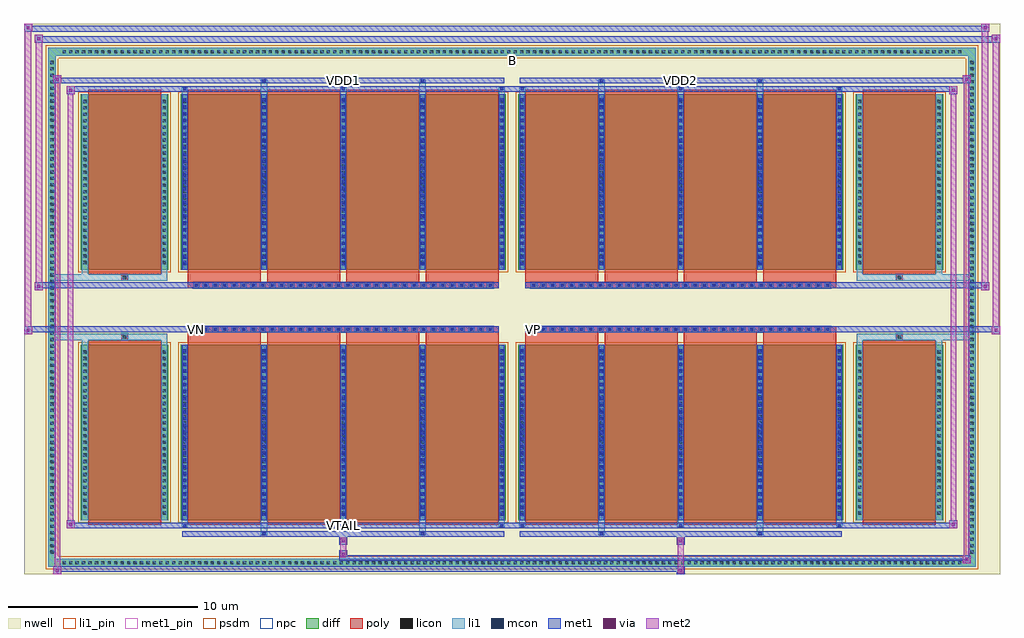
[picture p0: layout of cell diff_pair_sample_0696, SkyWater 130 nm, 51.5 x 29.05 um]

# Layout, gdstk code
import gdstk
lib = gdstk.Library(unit=1e-6, precision=5e-09)
def R(c, l, rs):  # rectangles x0, y0, x1, y1
    for r in rs: c.add(gdstk.rectangle(r[:2], r[2:], *l))
def A(c, l, x, y, w, h, nx, ny, dx, dy):  # array of equal rectangles
    R(c, l, [(x+i*dx, y+j*dy, x+i*dx+w, y+j*dy+h) for i in range(nx) for j in range(ny)])
def P(c, l, *ps):  # polygons
    for p in ps: c.add(gdstk.Polygon(p, *l))
nwell = (64, 20)
diff = (65, 20)
poly = (66, 20)
licon = (66, 44)
li1_pin = (67, 16)
li1 = (67, 20)
mcon = (67, 44)
met1_pin = (68, 16)
met1 = (68, 20)
via = (68, 44)
met2 = (69, 20)
psdm = (94, 20)
npc = (95, 20)

diff_pair_sample_0696 = lib.new_cell('diff_pair_sample_0696')
R(diff_pair_sample_0696, nwell, [(-25.75,-14.09,25.75,14.96), (-23.07,-12.28,-0.01,-0.8), (0.01,-12.28,23.07,-0.8), (-23.07,0.8,-0.01,12.28), (0.01,0.8,23.07,12.28)])
A(diff_pair_sample_0696, diff, -23.835, -13.69, 0.41, 0.41, 140, 2, 0.34, 26.97)
A(diff_pair_sample_0696, diff, -24.48, -13.125, 0.41, 0.41, 1, 77, 0, 0.34)
A(diff_pair_sample_0696, diff, 24.07, -13.125, 0.41, 0.41, 1, 77, 0, 0.34)
R(diff_pair_sample_0696, diff, [(-23.835,-13.69,23.835,-13.28), (-24.48,-13.125,-24.07,13.125), (24.07,-13.125,24.48,13.125), (-22.76,-11.235,-18.13,-1.985), (-17.49,-11.235,-0.32,-1.985), (0.32,-11.235,17.49,-1.985), (18.13,-11.235,22.76,-1.985), (-22.76,1.985,-18.13,11.235), (-17.49,1.985,-0.32,11.235), (0.32,1.985,17.49,11.235), (18.13,1.985,22.76,11.235), (-23.835,13.28,23.835,13.69)])
P(diff_pair_sample_0696, diff, [(24.48,13.69),(-24.48,13.69),(-24.48,-13.28),(-24.07,-13.28),(-24.07,13.28),(24.07,13.28),(24.07,-13.28),(-24.07,-13.28),(-24.48,-13.28),(-24.48,-13.69),(24.48,-13.69)])
A(diff_pair_sample_0696, poly, -17.1, -11.485, 3.85, 9.75, 4, 2, 4.18, 13.22)
A(diff_pair_sample_0696, poly, 0.71, -11.485, 3.85, 9.75, 4, 2, 4.18, 13.22)
A(diff_pair_sample_0696, poly, -17.1, -1.735, 3.85, 0.405, 4, 2, 4.18, 3.065)
A(diff_pair_sample_0696, poly, 0.71, -1.735, 3.85, 0.405, 4, 2, 4.18, 3.065)
A(diff_pair_sample_0696, poly, -16.82, -1.33, 0.33, 0.33, 32, 2, 0.5, 2.33)
A(diff_pair_sample_0696, poly, 0.99, -1.33, 0.33, 0.33, 32, 2, 0.5, 2.33)
R(diff_pair_sample_0696, poly, [(-22.37,-11.485,-18.52,-1.735), (18.52,-11.485,22.37,-1.735), (-20.61,-1.735,-20.28,-1.405), (-20.61,-1.735,-20.28,-1.405), (20.28,-1.735,20.61,-1.405), (20.28,-1.735,20.61,-1.405), (-17.1,-1.33,-0.71,-1), (0.71,-1.33,17.1,-1), (-17.1,1,-0.71,1.33), (0.71,1,17.1,1.33), (-20.61,1.405,-20.28,1.735), (-20.61,1.405,-20.28,1.735), (20.28,1.405,20.61,1.735), (20.28,1.405,20.61,1.735), (-22.37,1.735,-18.52,11.485), (18.52,1.735,22.37,11.485)])
A(diff_pair_sample_0696, licon, -23.715, -13.57, 0.17, 0.17, 140, 2, 0.34, 26.97)
A(diff_pair_sample_0696, licon, -24.36, -13.005, 0.17, 0.17, 1, 77, 0, 0.34)
A(diff_pair_sample_0696, licon, 24.19, -13.005, 0.17, 0.17, 1, 77, 0, 0.34)
A(diff_pair_sample_0696, licon, -22.62, -10.945, 0.17, 0.17, 1, 26, 0, 0.34)
A(diff_pair_sample_0696, licon, -18.44, -10.945, 0.17, 0.17, 1, 26, 0, 0.34)
A(diff_pair_sample_0696, licon, -17.35, -10.945, 0.17, 0.17, 5, 26, 4.18, 0.34)
A(diff_pair_sample_0696, licon, 0.46, -10.945, 0.17, 0.17, 5, 26, 4.18, 0.34)
A(diff_pair_sample_0696, licon, 18.27, -10.945, 0.17, 0.17, 1, 26, 0, 0.34)
A(diff_pair_sample_0696, licon, 22.45, -10.945, 0.17, 0.17, 1, 26, 0, 0.34)
A(diff_pair_sample_0696, licon, -16.74, -1.25, 0.17, 0.17, 32, 2, 0.5, 2.33)
A(diff_pair_sample_0696, licon, 1.07, -1.25, 0.17, 0.17, 32, 2, 0.5, 2.33)
A(diff_pair_sample_0696, licon, -22.62, 2.275, 0.17, 0.17, 1, 26, 0, 0.34)
A(diff_pair_sample_0696, licon, -18.44, 2.275, 0.17, 0.17, 1, 26, 0, 0.34)
A(diff_pair_sample_0696, licon, -17.35, 2.275, 0.17, 0.17, 5, 26, 4.18, 0.34)
A(diff_pair_sample_0696, licon, 0.46, 2.275, 0.17, 0.17, 5, 26, 4.18, 0.34)
A(diff_pair_sample_0696, licon, 18.27, 2.275, 0.17, 0.17, 1, 26, 0, 0.34)
A(diff_pair_sample_0696, licon, 22.45, 2.275, 0.17, 0.17, 1, 26, 0, 0.34)
R(diff_pair_sample_0696, licon, [(-20.53,-1.655,-20.36,-1.485), (20.36,-1.655,20.53,-1.485), (-20.53,1.485,-20.36,1.655), (20.36,1.485,20.53,1.655)])
R(diff_pair_sample_0696, li1_pin, [(-0.25,12.78,0.25,13.28)])
A(diff_pair_sample_0696, li1, -23.795, -13.65, 0.33, 0.33, 140, 2, 0.34, 26.97)
A(diff_pair_sample_0696, li1, -24.44, -13.085, 0.33, 0.33, 1, 77, 0, 0.34)
A(diff_pair_sample_0696, li1, 24.11, -13.085, 0.33, 0.33, 1, 77, 0, 0.34)
A(diff_pair_sample_0696, li1, -17.43, -11.61, 0.33, 0.375, 3, 2, 8.36, 22.845)
A(diff_pair_sample_0696, li1, -17.35, -11.61, 0.17, 0.17, 3, 2, 8.36, 23.05)
A(diff_pair_sample_0696, li1, 0.38, -11.61, 0.33, 0.375, 3, 2, 8.36, 22.845)
A(diff_pair_sample_0696, li1, 0.46, -11.61, 0.17, 0.17, 3, 2, 8.36, 23.05)
A(diff_pair_sample_0696, li1, -17.43, -11.235, 0.33, 9.25, 5, 2, 4.18, 13.22)
A(diff_pair_sample_0696, li1, 0.38, -11.235, 0.33, 9.25, 5, 2, 4.18, 13.22)
A(diff_pair_sample_0696, li1, -22.7, -11.025, 0.33, 0.33, 1, 26, 0, 0.34)
A(diff_pair_sample_0696, li1, -18.52, -11.025, 0.33, 0.33, 1, 26, 0, 0.34)
A(diff_pair_sample_0696, li1, -17.43, -11.025, 0.33, 0.33, 5, 26, 4.18, 0.34)
A(diff_pair_sample_0696, li1, 0.38, -11.025, 0.33, 0.33, 5, 26, 4.18, 0.34)
A(diff_pair_sample_0696, li1, 18.19, -11.025, 0.33, 0.33, 1, 26, 0, 0.34)
A(diff_pair_sample_0696, li1, 22.37, -11.025, 0.33, 0.33, 1, 26, 0, 0.34)
A(diff_pair_sample_0696, li1, -17.35, -11.015, 0.17, 0.17, 5, 25, 4.18, 0.36)
A(diff_pair_sample_0696, li1, -17.35, -11.015, 0.17, 8.81, 5, 2, 4.18, 13.22)
A(diff_pair_sample_0696, li1, 0.46, -11.015, 0.17, 0.17, 5, 25, 4.18, 0.36)
A(diff_pair_sample_0696, li1, 0.46, -11.015, 0.17, 8.81, 5, 2, 4.18, 13.22)
A(diff_pair_sample_0696, li1, -16.82, -1.33, 0.33, 0.33, 32, 2, 0.5, 2.33)
A(diff_pair_sample_0696, li1, 0.99, -1.33, 0.33, 0.33, 32, 2, 0.5, 2.33)
A(diff_pair_sample_0696, li1, -22.7, 2.195, 0.33, 0.33, 1, 26, 0, 0.34)
A(diff_pair_sample_0696, li1, -18.52, 2.195, 0.33, 0.33, 1, 26, 0, 0.34)
A(diff_pair_sample_0696, li1, -17.43, 2.195, 0.33, 0.33, 5, 26, 4.18, 0.34)
A(diff_pair_sample_0696, li1, 0.38, 2.195, 0.33, 0.33, 5, 26, 4.18, 0.34)
A(diff_pair_sample_0696, li1, 18.19, 2.195, 0.33, 0.33, 1, 26, 0, 0.34)
A(diff_pair_sample_0696, li1, 22.37, 2.195, 0.33, 0.33, 1, 26, 0, 0.34)
A(diff_pair_sample_0696, li1, -17.35, 2.205, 0.17, 0.17, 5, 25, 4.18, 0.36)
A(diff_pair_sample_0696, li1, 0.46, 2.205, 0.17, 0.17, 5, 25, 4.18, 0.36)
R(diff_pair_sample_0696, li1, [(-24.48,-13.69,-24.07,-13.28), (-24.48,-13.69,-24.07,-13.28), (-24.07,-13.69,24.07,-13.28), (24.07,-13.69,24.48,-13.28), (24.07,-13.69,24.48,-13.28), (-24.48,-13.28,-24.07,13.28), (24.07,-13.28,24.48,13.28), (-13.25,-12.04,-12.92,-11.235), (-13.17,-12.04,-13,-11.87), (-4.89,-12.04,-4.56,-11.235), (-4.81,-12.04,-4.64,-11.87), (4.56,-12.04,4.89,-11.235), (4.64,-12.04,4.81,-11.87), (12.92,-12.04,13.25,-11.235), (13,-12.04,13.17,-11.87), (-22.7,-11.235,-22.37,-1.985), (-18.52,-11.235,-18.19,-1.985), (18.19,-11.235,18.52,-1.985), (22.37,-11.235,22.7,-1.985), (-22.7,-1.985,-22.37,-1.405), (-18.52,-1.985,-18.19,-1.405), (18.19,-1.985,18.52,-1.405), (22.37,-1.985,22.7,-1.405), (-24.48,-1.735,-20.61,-1.405), (-22.7,-1.735,-20.61,-1.405), (-20.61,-1.735,-20.28,-1.405), (-20.28,-1.735,-18.19,-1.405), (18.19,-1.735,20.28,-1.405), (20.28,-1.735,20.61,-1.405), (20.28,-1.735,24.48,-1.405), (20.61,-1.735,22.7,-1.405), (-24.48,1.405,-20.61,1.735), (-22.7,1.405,-20.61,1.735), (-22.7,1.405,-22.37,1.985), (-20.61,1.405,-20.28,1.735), (-20.28,1.405,-18.19,1.735), (-18.52,1.405,-18.19,1.985), (18.19,1.405,20.28,1.735), (18.19,1.405,18.52,1.985), (20.28,1.405,20.61,1.735), (20.28,1.405,24.48,1.735), (20.61,1.405,22.7,1.735), (22.37,1.405,22.7,1.985), (-22.7,1.985,-22.37,11.235), (-18.52,1.985,-18.19,11.235), (18.19,1.985,18.52,11.235), (22.37,1.985,22.7,11.235), (-13.25,11.235,-12.92,12.04), (-4.89,11.235,-4.56,12.04), (4.56,11.235,4.89,12.04), (12.92,11.235,13.25,12.04), (-13.17,11.87,-13,12.04), (-4.81,11.87,-4.64,12.04), (4.64,11.87,4.81,12.04), (13,11.87,13.17,12.04), (-24.48,13.28,-24.07,13.69), (-24.48,13.28,-24.07,13.69), (-24.07,13.28,24.07,13.69), (24.07,13.28,24.48,13.69), (24.07,13.28,24.48,13.69)])
A(diff_pair_sample_0696, mcon, -17.35, -11.61, 0.17, 0.17, 3, 2, 8.36, 23.05)
A(diff_pair_sample_0696, mcon, 0.46, -11.61, 0.17, 0.17, 3, 2, 8.36, 23.05)
A(diff_pair_sample_0696, mcon, -17.35, -11.015, 0.17, 0.17, 5, 25, 4.18, 0.36)
A(diff_pair_sample_0696, mcon, 0.46, -11.015, 0.17, 0.17, 5, 25, 4.18, 0.36)
A(diff_pair_sample_0696, mcon, -16.74, -1.25, 0.17, 0.17, 32, 2, 0.5, 2.33)
A(diff_pair_sample_0696, mcon, 1.07, -1.25, 0.17, 0.17, 32, 2, 0.5, 2.33)
A(diff_pair_sample_0696, mcon, -17.35, 2.205, 0.17, 0.17, 5, 25, 4.18, 0.36)
A(diff_pair_sample_0696, mcon, 0.46, 2.205, 0.17, 0.17, 5, 25, 4.18, 0.36)
R(diff_pair_sample_0696, mcon, [(-13.17,-12.04,-13,-11.87), (-4.81,-12.04,-4.64,-11.87), (4.64,-12.04,4.81,-11.87), (13,-12.04,13.17,-11.87), (-13.17,11.87,-13,12.04), (-4.81,11.87,-4.64,12.04), (4.64,11.87,4.81,12.04), (13,11.87,13.17,12.04)])
R(diff_pair_sample_0696, met1_pin, [(-9.04,-11.65,-8.77,-11.38), (-16.79,-1.29,-16.52,-1.02), (1.02,-1.29,1.29,-1.02), (-9.04,11.83,-8.77,12.1), (8.77,11.83,9.04,12.1)])
A(diff_pair_sample_0696, met1, -17.41, -11.67, 0.29, 0.29, 3, 2, 8.36, 23.05)
A(diff_pair_sample_0696, met1, 0.4, -11.67, 0.29, 0.29, 3, 2, 8.36, 23.05)
A(diff_pair_sample_0696, met1, -17.41, -11.235, 0.29, 9.25, 5, 2, 4.18, 13.22)
A(diff_pair_sample_0696, met1, 0.4, -11.235, 0.29, 9.25, 5, 2, 4.18, 13.22)
A(diff_pair_sample_0696, met1, -17.41, -11.075, 0.29, 0.29, 5, 25, 4.18, 0.36)
A(diff_pair_sample_0696, met1, 0.4, -11.075, 0.29, 0.29, 5, 25, 4.18, 0.36)
A(diff_pair_sample_0696, met1, -16.8, -1.31, 0.29, 0.29, 32, 2, 0.5, 2.33)
A(diff_pair_sample_0696, met1, 1.01, -1.31, 0.29, 0.29, 32, 2, 0.5, 2.33)
A(diff_pair_sample_0696, met1, -17.41, 2.145, 0.29, 0.29, 5, 25, 4.18, 0.36)
A(diff_pair_sample_0696, met1, 0.4, 2.145, 0.29, 0.29, 5, 25, 4.18, 0.36)
R(diff_pair_sample_0696, met1, [(-24.21,-14.09,-23.78,-13.66), (8.69,-14.09,9.12,-13.66), (-24.21,-13.95,9.12,-13.66), (23.78,-13.52,24.21,-13.09), (-9.12,-13.38,24.21,-13.09), (-9.12,-13.24,-8.69,-12.81), (-9.12,-12.53,-8.69,-12.1), (8.69,-12.53,9.12,-12.1), (-17.41,-12.1,-0.4,-11.81), (-13.23,-12.1,-12.94,-11.81), (-4.87,-12.1,-4.58,-11.81), (0.4,-12.1,17.41,-11.81), (4.58,-12.1,4.87,-11.81), (12.94,-12.1,13.23,-11.81), (-23.5,-11.67,-23.07,-11.24), (-23.5,-11.67,-17.41,-11.38), (-17.41,-11.67,-0.4,-11.38), (-0.4,-11.67,0.4,-11.38), (0.4,-11.67,17.41,-11.38), (17.41,-11.67,23.5,-11.38), (23.07,-11.67,23.5,-11.24), (-25.75,-1.43,-25.32,-1), (25.32,-1.43,25.75,-1), (-25.75,-1.33,-0.71,-1), (-17.1,-1.33,-0.71,-1), (0.71,-1.33,17.1,-1), (0.71,-1.33,25.75,-1), (-25.18,0.9,-24.75,1.33), (24.75,0.9,25.18,1.33), (-25.18,1,-17.1,1.33), (-17.1,1,-0.71,1.33), (0.71,1,17.1,1.33), (17.1,1,25.18,1.33), (-23.5,11.24,-23.07,11.67), (23.07,11.24,23.5,11.67), (-23.5,11.38,-17.41,11.67), (-17.41,11.38,-0.4,11.67), (-0.4,11.38,0.4,11.67), (0.4,11.38,17.41,11.67), (17.41,11.38,23.5,11.67), (-24.21,11.81,-23.78,12.24), (-24.21,11.81,-17.41,12.1), (-17.41,11.81,-0.4,12.1), (-13.23,11.81,-12.94,12.1), (-4.87,11.81,-4.58,12.1), (0.4,11.81,17.41,12.1), (4.58,11.81,4.87,12.1), (12.94,11.81,13.23,12.1), (17.41,11.81,24.21,12.1), (23.78,11.81,24.21,12.24), (-25.18,13.96,-24.75,14.39), (-25.18,13.96,-23.07,14.29), (-23.07,13.96,23.07,14.29), (23.07,13.96,25.75,14.29), (25.32,13.96,25.75,14.39), (-25.75,14.53,-25.32,14.96), (-25.75,14.53,-23.07,14.86), (-23.07,14.53,23.07,14.86), (23.07,14.53,25.18,14.86), (24.75,14.53,25.18,14.96)])
R(diff_pair_sample_0696, via, [(-24.07,-13.95,-23.92,-13.8), (8.83,-13.95,8.98,-13.8), (23.92,-13.38,24.07,-13.23), (-8.98,-13.1,-8.83,-12.95), (-8.98,-12.39,-8.83,-12.24), (8.83,-12.39,8.98,-12.24), (-23.36,-11.53,-23.21,-11.38), (23.21,-11.53,23.36,-11.38), (-25.61,-1.29,-25.46,-1.14), (25.46,-1.29,25.61,-1.14), (-25.04,1.04,-24.89,1.19), (24.89,1.04,25.04,1.19), (-23.36,11.38,-23.21,11.53), (23.21,11.38,23.36,11.53), (-24.07,11.95,-23.92,12.1), (23.92,11.95,24.07,12.1), (-25.04,14.1,-24.89,14.25), (25.46,14.1,25.61,14.25), (-25.61,14.67,-25.46,14.82), (24.89,14.67,25.04,14.82)])
R(diff_pair_sample_0696, met2, [(-24.21,-14.09,-23.78,-13.66), (-24.14,-14.09,-23.85,12.24), (-23.85,-14.09,-23.78,-13.66), (-24.16,-14.04,-23.83,-13.71), (8.74,-14.04,9.07,-13.71), (8.74,-13.71,9.07,-12.48), (23.78,-13.52,24.21,-13.09), (23.85,-13.52,24.14,12.24), (24.14,-13.52,24.21,-13.09), (23.83,-13.47,24.16,-13.14), (-9.07,-13.19,-8.74,-12.86), (-9.07,-12.86,-8.74,-12.48), (-9.07,-12.48,-8.74,-12.15), (8.74,-12.48,9.07,-12.15), (-23.5,-11.67,-23.07,-11.24), (-23.43,-11.67,-23.14,11.67), (-23.14,-11.67,-23.07,-11.24), (23.07,-11.67,23.5,-11.24), (23.14,-11.67,23.43,11.67), (23.43,-11.67,23.5,-11.24), (-23.45,-11.62,-23.12,-11.29), (23.12,-11.62,23.45,-11.29), (-25.75,-1.43,-25.32,-1), (-25.7,-1.43,-25.37,14.96), (-25.37,-1.43,-25.32,-1), (25.32,-1.43,25.75,-1), (25.37,-1.43,25.7,14.39), (25.7,-1.43,25.75,-1), (-25.7,-1.38,-25.37,-1.05), (25.37,-1.38,25.7,-1.05), (-25.18,0.9,-24.75,1.33), (-25.13,0.9,-24.8,14.39), (-24.8,0.9,-24.75,1.33), (24.75,0.9,25.18,1.33), (24.8,0.9,25.13,14.96), (25.13,0.9,25.18,1.33), (-25.13,0.95,-24.8,1.28), (24.8,0.95,25.13,1.28), (-23.5,11.24,-23.07,11.67), (-23.14,11.24,-23.07,11.67), (23.07,11.24,23.5,11.67), (23.43,11.24,23.5,11.67), (-23.45,11.29,-23.12,11.62), (23.12,11.29,23.45,11.62), (-24.21,11.81,-23.78,12.24), (-23.85,11.81,-23.78,12.24), (23.78,11.81,24.21,12.24), (24.14,11.81,24.21,12.24), (-24.16,11.86,-23.83,12.19), (23.83,11.86,24.16,12.19), (-25.18,13.96,-24.75,14.39), (-24.8,13.96,-24.75,14.39), (25.32,13.96,25.75,14.39), (25.7,13.96,25.75,14.39), (-25.13,14.01,-24.8,14.34), (25.37,14.01,25.7,14.34), (-25.75,14.53,-25.32,14.96), (-25.37,14.53,-25.32,14.96), (24.75,14.53,25.18,14.96), (25.13,14.53,25.18,14.96), (-25.7,14.58,-25.37,14.91), (24.8,14.58,25.13,14.91)])
R(diff_pair_sample_0696, psdm, [(-22.89,-11.365,-18,-1.855), (-17.62,-11.365,-0.19,-1.855), (0.19,-11.365,17.62,-1.855), (18,-11.365,22.89,-1.855), (-22.89,1.855,-18,11.365), (-17.62,1.855,-0.19,11.365), (0.19,1.855,17.62,11.365), (18,1.855,22.89,11.365)])
P(diff_pair_sample_0696, psdm, [(24.61,13.82),(-24.61,13.82),(-24.61,-13.15),(-23.94,-13.15),(-23.94,13.15),(23.94,13.15),(23.94,-13.15),(-23.94,-13.15),(-24.61,-13.15),(-24.61,-13.82),(24.61,-13.82)])
A(diff_pair_sample_0696, npc, -16.84, -1.35, 0.37, 0.37, 32, 2, 0.5, 2.33)
A(diff_pair_sample_0696, npc, 0.97, -1.35, 0.37, 0.37, 32, 2, 0.5, 2.33)
R(diff_pair_sample_0696, npc, [(-20.63,-1.755,-20.26,-1.385), (20.26,-1.755,20.63,-1.385), (-16.84,-1.35,-15.97,-0.98), (-16.84,-1.35,-15.97,-0.98), (-16.34,-1.35,-15.47,-0.98), (-16.34,-1.35,-15.47,-0.98), (-15.84,-1.35,-14.97,-0.98), (-15.84,-1.35,-14.97,-0.98), (-15.34,-1.35,-14.47,-0.98), (-15.34,-1.35,-14.47,-0.98), (-14.84,-1.35,-13.97,-0.98), (-14.84,-1.35,-13.97,-0.98), (-14.34,-1.35,-13.47,-0.98), (-14.34,-1.35,-13.47,-0.98), (-13.84,-1.35,-12.97,-0.98), (-13.84,-1.35,-12.97,-0.98), (-13.34,-1.35,-12.47,-0.98), (-13.34,-1.35,-12.47,-0.98), (-12.84,-1.35,-11.97,-0.98), (-12.84,-1.35,-11.97,-0.98), (-12.34,-1.35,-11.47,-0.98), (-12.34,-1.35,-11.47,-0.98), (-11.84,-1.35,-10.97,-0.98), (-11.84,-1.35,-10.97,-0.98), (-11.34,-1.35,-10.47,-0.98), (-11.34,-1.35,-10.47,-0.98), (-10.84,-1.35,-9.97,-0.98), (-10.84,-1.35,-9.97,-0.98), (-10.34,-1.35,-9.47,-0.98), (-10.34,-1.35,-9.47,-0.98), (-9.84,-1.35,-8.97,-0.98), (-9.84,-1.35,-8.97,-0.98), (-9.34,-1.35,-8.47,-0.98), (-9.34,-1.35,-8.47,-0.98), (-8.84,-1.35,-7.97,-0.98), (-8.84,-1.35,-7.97,-0.98), (-8.34,-1.35,-7.47,-0.98), (-8.34,-1.35,-7.47,-0.98), (-7.84,-1.35,-6.97,-0.98), (-7.84,-1.35,-6.97,-0.98), (-7.34,-1.35,-6.47,-0.98), (-7.34,-1.35,-6.47,-0.98), (-6.84,-1.35,-5.97,-0.98), (-6.84,-1.35,-5.97,-0.98), (-6.34,-1.35,-5.47,-0.98), (-6.34,-1.35,-5.47,-0.98), (-5.84,-1.35,-4.97,-0.98), (-5.84,-1.35,-4.97,-0.98), (-5.34,-1.35,-4.47,-0.98), (-5.34,-1.35,-4.47,-0.98), (-4.84,-1.35,-3.97,-0.98), (-4.84,-1.35,-3.97,-0.98), (-4.34,-1.35,-3.47,-0.98), (-4.34,-1.35,-3.47,-0.98), (-3.84,-1.35,-2.97,-0.98), (-3.84,-1.35,-2.97,-0.98), (-3.34,-1.35,-2.47,-0.98), (-3.34,-1.35,-2.47,-0.98), (-2.84,-1.35,-1.97,-0.98), (-2.84,-1.35,-1.97,-0.98), (-2.34,-1.35,-1.47,-0.98), (-2.34,-1.35,-1.47,-0.98), (-1.84,-1.35,-0.97,-0.98), (-1.84,-1.35,-0.97,-0.98), (0.97,-1.35,1.84,-0.98), (0.97,-1.35,1.84,-0.98), (1.47,-1.35,2.34,-0.98), (1.47,-1.35,2.34,-0.98), (1.97,-1.35,2.84,-0.98), (1.97,-1.35,2.84,-0.98), (2.47,-1.35,3.34,-0.98), (2.47,-1.35,3.34,-0.98), (2.97,-1.35,3.84,-0.98), (2.97,-1.35,3.84,-0.98), (3.47,-1.35,4.34,-0.98), (3.47,-1.35,4.34,-0.98), (3.97,-1.35,4.84,-0.98), (3.97,-1.35,4.84,-0.98), (4.47,-1.35,5.34,-0.98), (4.47,-1.35,5.34,-0.98), (4.97,-1.35,5.84,-0.98), (4.97,-1.35,5.84,-0.98), (5.47,-1.35,6.34,-0.98), (5.47,-1.35,6.34,-0.98), (5.97,-1.35,6.84,-0.98), (5.97,-1.35,6.84,-0.98), (6.47,-1.35,7.34,-0.98), (6.47,-1.35,7.34,-0.98), (6.97,-1.35,7.84,-0.98), (6.97,-1.35,7.84,-0.98), (7.47,-1.35,8.34,-0.98), (7.47,-1.35,8.34,-0.98), (7.97,-1.35,8.84,-0.98), (7.97,-1.35,8.84,-0.98), (8.47,-1.35,9.34,-0.98), (8.47,-1.35,9.34,-0.98), (8.97,-1.35,9.84,-0.98), (8.97,-1.35,9.84,-0.98), (9.47,-1.35,10.34,-0.98), (9.47,-1.35,10.34,-0.98), (9.97,-1.35,10.84,-0.98), (9.97,-1.35,10.84,-0.98), (10.47,-1.35,11.34,-0.98), (10.47,-1.35,11.34,-0.98), (10.97,-1.35,11.84,-0.98), (10.97,-1.35,11.84,-0.98), (11.47,-1.35,12.34,-0.98), (11.47,-1.35,12.34,-0.98), (11.97,-1.35,12.84,-0.98), (11.97,-1.35,12.84,-0.98), (12.47,-1.35,13.34,-0.98), (12.47,-1.35,13.34,-0.98), (12.97,-1.35,13.84,-0.98), (12.97,-1.35,13.84,-0.98), (13.47,-1.35,14.34,-0.98), (13.47,-1.35,14.34,-0.98), (13.97,-1.35,14.84,-0.98), (13.97,-1.35,14.84,-0.98), (14.47,-1.35,15.34,-0.98), (14.47,-1.35,15.34,-0.98), (14.97,-1.35,15.84,-0.98), (14.97,-1.35,15.84,-0.98), (15.47,-1.35,16.34,-0.98), (15.47,-1.35,16.34,-0.98), (15.97,-1.35,16.84,-0.98), (15.97,-1.35,16.84,-0.98), (-16.84,0.98,-15.97,1.35), (-16.84,0.98,-15.97,1.35), (-16.34,0.98,-15.47,1.35), (-16.34,0.98,-15.47,1.35), (-15.84,0.98,-14.97,1.35), (-15.84,0.98,-14.97,1.35), (-15.34,0.98,-14.47,1.35), (-15.34,0.98,-14.47,1.35), (-14.84,0.98,-13.97,1.35), (-14.84,0.98,-13.97,1.35), (-14.34,0.98,-13.47,1.35), (-14.34,0.98,-13.47,1.35), (-13.84,0.98,-12.97,1.35), (-13.84,0.98,-12.97,1.35), (-13.34,0.98,-12.47,1.35), (-13.34,0.98,-12.47,1.35), (-12.84,0.98,-11.97,1.35), (-12.84,0.98,-11.97,1.35), (-12.34,0.98,-11.47,1.35), (-12.34,0.98,-11.47,1.35), (-11.84,0.98,-10.97,1.35), (-11.84,0.98,-10.97,1.35), (-11.34,0.98,-10.47,1.35), (-11.34,0.98,-10.47,1.35), (-10.84,0.98,-9.97,1.35), (-10.84,0.98,-9.97,1.35), (-10.34,0.98,-9.47,1.35), (-10.34,0.98,-9.47,1.35), (-9.84,0.98,-8.97,1.35), (-9.84,0.98,-8.97,1.35), (-9.34,0.98,-8.47,1.35), (-9.34,0.98,-8.47,1.35), (-8.84,0.98,-7.97,1.35), (-8.84,0.98,-7.97,1.35), (-8.34,0.98,-7.47,1.35), (-8.34,0.98,-7.47,1.35), (-7.84,0.98,-6.97,1.35), (-7.84,0.98,-6.97,1.35), (-7.34,0.98,-6.47,1.35), (-7.34,0.98,-6.47,1.35), (-6.84,0.98,-5.97,1.35), (-6.84,0.98,-5.97,1.35), (-6.34,0.98,-5.47,1.35), (-6.34,0.98,-5.47,1.35), (-5.84,0.98,-4.97,1.35), (-5.84,0.98,-4.97,1.35), (-5.34,0.98,-4.47,1.35), (-5.34,0.98,-4.47,1.35), (-4.84,0.98,-3.97,1.35), (-4.84,0.98,-3.97,1.35), (-4.34,0.98,-3.47,1.35), (-4.34,0.98,-3.47,1.35), (-3.84,0.98,-2.97,1.35), (-3.84,0.98,-2.97,1.35), (-3.34,0.98,-2.47,1.35), (-3.34,0.98,-2.47,1.35), (-2.84,0.98,-1.97,1.35), (-2.84,0.98,-1.97,1.35), (-2.34,0.98,-1.47,1.35), (-2.34,0.98,-1.47,1.35), (-1.84,0.98,-0.97,1.35), (-1.84,0.98,-0.97,1.35), (0.97,0.98,1.84,1.35), (0.97,0.98,1.84,1.35), (1.47,0.98,2.34,1.35), (1.47,0.98,2.34,1.35), (1.97,0.98,2.84,1.35), (1.97,0.98,2.84,1.35), (2.47,0.98,3.34,1.35), (2.47,0.98,3.34,1.35), (2.97,0.98,3.84,1.35), (2.97,0.98,3.84,1.35), (3.47,0.98,4.34,1.35), (3.47,0.98,4.34,1.35), (3.97,0.98,4.84,1.35), (3.97,0.98,4.84,1.35), (4.47,0.98,5.34,1.35), (4.47,0.98,5.34,1.35), (4.97,0.98,5.84,1.35), (4.97,0.98,5.84,1.35), (5.47,0.98,6.34,1.35), (5.47,0.98,6.34,1.35), (5.97,0.98,6.84,1.35), (5.97,0.98,6.84,1.35), (6.47,0.98,7.34,1.35), (6.47,0.98,7.34,1.35), (6.97,0.98,7.84,1.35), (6.97,0.98,7.84,1.35), (7.47,0.98,8.34,1.35), (7.47,0.98,8.34,1.35), (7.97,0.98,8.84,1.35), (7.97,0.98,8.84,1.35), (8.47,0.98,9.34,1.35), (8.47,0.98,9.34,1.35), (8.97,0.98,9.84,1.35), (8.97,0.98,9.84,1.35), (9.47,0.98,10.34,1.35), (9.47,0.98,10.34,1.35), (9.97,0.98,10.84,1.35), (9.97,0.98,10.84,1.35), (10.47,0.98,11.34,1.35), (10.47,0.98,11.34,1.35), (10.97,0.98,11.84,1.35), (10.97,0.98,11.84,1.35), (11.47,0.98,12.34,1.35), (11.47,0.98,12.34,1.35), (11.97,0.98,12.84,1.35), (11.97,0.98,12.84,1.35), (12.47,0.98,13.34,1.35), (12.47,0.98,13.34,1.35), (12.97,0.98,13.84,1.35), (12.97,0.98,13.84,1.35), (13.47,0.98,14.34,1.35), (13.47,0.98,14.34,1.35), (13.97,0.98,14.84,1.35), (13.97,0.98,14.84,1.35), (14.47,0.98,15.34,1.35), (14.47,0.98,15.34,1.35), (14.97,0.98,15.84,1.35), (14.97,0.98,15.84,1.35), (15.47,0.98,16.34,1.35), (15.47,0.98,16.34,1.35), (15.97,0.98,16.84,1.35), (15.97,0.98,16.84,1.35), (-20.63,1.385,-20.26,1.755), (20.26,1.385,20.63,1.755)])
diff_pair_sample_0696.add(gdstk.Label('VTAIL', (-8.905,-11.515), layer=68, texttype=5))
diff_pair_sample_0696.add(gdstk.Label('VN', (-16.655,-1.155), layer=68, texttype=5))
diff_pair_sample_0696.add(gdstk.Label('VP', (1.155,-1.155), layer=68, texttype=5))
diff_pair_sample_0696.add(gdstk.Label('B', (0,13.03), layer=67, texttype=5))
diff_pair_sample_0696.add(gdstk.Label('VDD2', (8.905,11.965), layer=68, texttype=5))
diff_pair_sample_0696.add(gdstk.Label('VDD1', (-8.905,11.965), layer=68, texttype=5))

lib.write_gds('diff_pair_sample_0696.gds')
